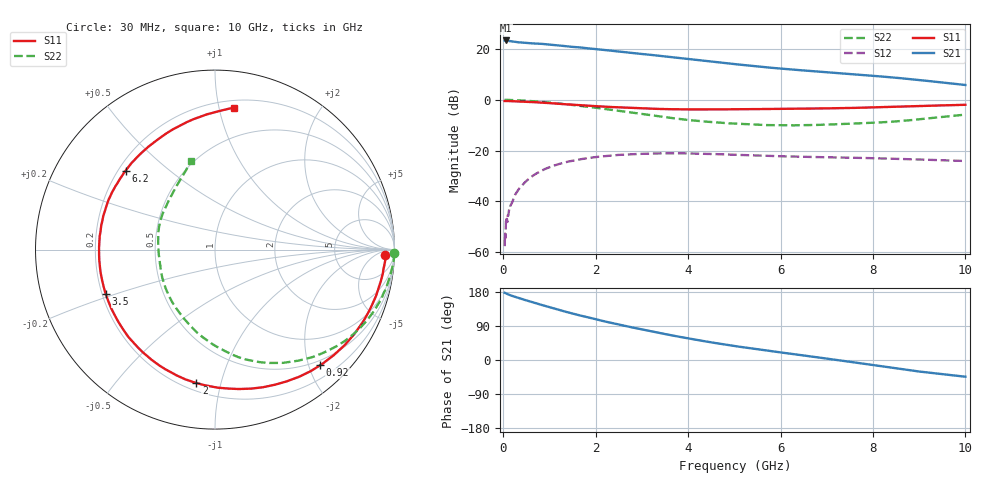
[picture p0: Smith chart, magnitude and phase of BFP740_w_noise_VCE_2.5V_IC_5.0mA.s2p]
! Infineon Technologies  Discrete & RF Semiconductors
! BFP740
! VCE =  2.5 V,  IC =  5.0 mA
! Common Emitter S-Parameters:  Jan 2016
# GHz  S  MA  R  50
!  f  S11  S21  S12  S22
! GHz  MAG  ANG  MAG  ANG  MAG  ANG  MAG  ANG
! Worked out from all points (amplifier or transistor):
!   229 points, 30 MHz to 10 GHz, reference 50 ohm
!   highest |S21| = 23.4 dB at 50 MHz (marker M1)
!   |S21| within 3 dB of that: start of sweep to 1.779 GHz
!   unconditionally stable (mu >= 1): 7.905 GHz to end of sweep
!   at 280 MHz: K = 0.08, MSG = 29.8 dB, |S12| = -36.8 dB
!   at 1.78 GHz: K = 0.23, MSG = 21.8 dB, |S12| = -23.1 dB
!   at 10 GHz: K = 1.17, MAG = 12.5 dB, |S12| = -24.1 dB
!   lowest NFmin = 0.44 dB at 450 MHz
!   S11 on the Smith chart (normalised r, x): 30 MHz: 29, -17; 920 MHz: 0.41, -2.20; 2 GHz: 0.25, -0.84; 3.5 GHz: 0.21, -0.19; 6.2 GHz: 0.23, +0.36; 10 GHz: 0.25, +1.11
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0.03  0.9497 -1.7  14.74 177.5  0.0013 98.7  0.9979 -1.2
0.04  0.9507 -2.2  14.65 176.9  0.0023 87.8  0.9989 -1.5
0.05  0.9497 -2.8  14.82 176.6  0.0019 71.7  0.997 -2.0
0.06  0.9508 -3.4  14.67 175.7  0.0047 83.0  0.9975 -2.3
0.11  0.9454 -6.1  14.62 173.0  0.0052 84.3  0.9953 -4.2
0.195  0.9406 -10.6  14.16 169.0  0.0096 82.1  0.9891 -7.4
0.42  0.9232 -22.2  13.46 160.2  0.0211 76.8  0.9685 -15.4
0.92  0.8708 -47.7  12.51 142.1  0.0439 59.7  0.8986 -32.4
1.2  0.8359 -61.4  11.83 132.3  0.0539 51.6  0.8465 -41.5
1.7  0.7771 -84.8  10.72 116.4  0.0679 38.6  0.753 -56.1
2  0.7512 -97.9  10.02 107.8  0.0744 31.7  0.6985 -64.7
2.28  0.7261 -110.2  9.422 99.5  0.079 25.5  0.6482 -72.3
2.78  0.6905 -130.5  8.43 86.2  0.0845 15.8  0.5609 -85.4
3.4  0.6601 -154.3  7.344 70.8  0.0879 5.2  0.4704 -102.7
3.5  0.6578 -157.8  7.178 68.5  0.0878 3.5  0.4561 -105.6
4.2  0.6461 178.9  6.099 52.8  0.0868 -6.5  0.3845 -126.2
5.1  0.6531 156.7  4.962 35.2  0.0819 -15.9  0.3362 -149.5
6.2  0.6646 138.6  3.99 16.9  0.0765 -23.0  0.3145 -174.6
6.8  0.6747 129.2  3.613 7.0  0.0742 -26.1  0.3201 171.4
8.4  0.727 102.6  2.776 -20.2  0.0692 -33.5  0.3703 135.5
9  0.755 93.4  2.461 -30.4  0.0666 -36.1  0.4132 121.4
10  0.7983 82.4  1.962 -44.1  0.0622 -37.1  0.5113 105.2
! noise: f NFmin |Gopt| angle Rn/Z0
0.45  0.44  0.4  11  0.23
0.9  0.45  0.41  17  0.22
1.5  0.49  0.39  26  0.21
1.9  0.52  0.38  42  0.21
2.4  0.55  0.38  46  0.2
3.5  0.65  0.35  68  0.18
5.5  0.87  0.24  164  0.16
10  1.52  0.55  -82  0.21
